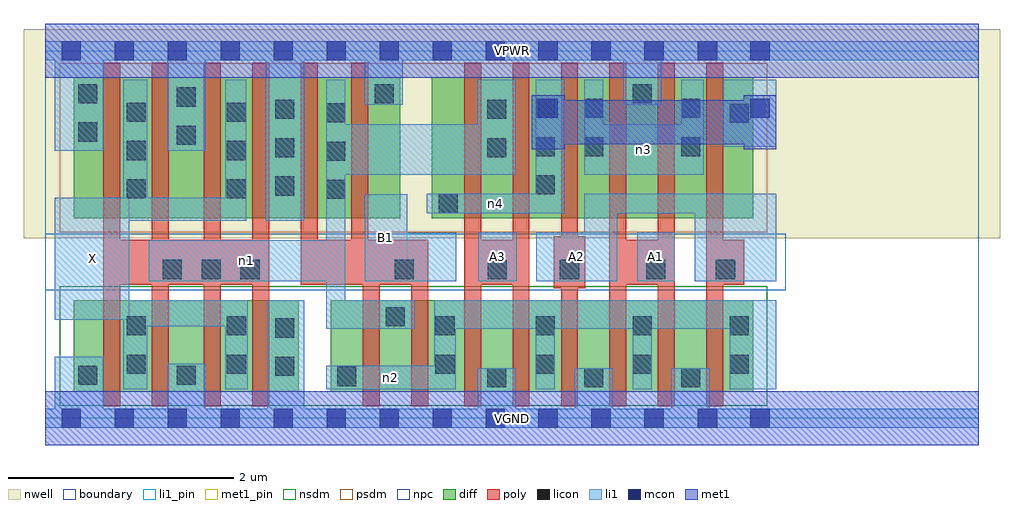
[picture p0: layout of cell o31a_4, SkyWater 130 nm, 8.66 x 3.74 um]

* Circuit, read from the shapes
.subckt o31a_4 A1 A2 A3 B1 VGND VPWR X n1 n2 n3 n4
XM1 X n1 VGND VSUBS sky130_fd_pr__nfet_01v8 w=0.81 l=0.15 m=4
XM2 n1 B1 n2 VSUBS sky130_fd_pr__nfet_01v8 w=0.81 l=0.15 m=2
XM3 VGND A3 n2 VSUBS sky130_fd_pr__nfet_01v8 w=0.81 l=0.15 m=2
XM4 VGND A2 n2 VSUBS sky130_fd_pr__nfet_01v8 w=0.81 l=0.15 m=2
XM5 n2 A1 VGND VSUBS sky130_fd_pr__nfet_01v8 w=0.81 l=0.15 m=2
XM6 X n1 VPWR n5 sky130_fd_pr__pfet_01v8 w=1.25 l=0.15 m=4
XM7 n1 B1 VPWR n5 sky130_fd_pr__pfet_01v8 w=1.25 l=0.15 m=2
XM8 n1 A3 n4 n5 sky130_fd_pr__pfet_01v8 w=1.25 l=0.15 m=2
XM9 n3 A2 n4 n5 sky130_fd_pr__pfet_01v8 w=1.25 l=0.15 m=2
XM10 VPWR A1 n3 n5 sky130_fd_pr__pfet_01v8 w=1.25 l=0.15 m=2
.ends

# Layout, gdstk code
import gdstk
lib = gdstk.Library(unit=1e-6, precision=1e-09)
def R(c, l, rs):  # rectangles x0, y0, x1, y1
    for r in rs: c.add(gdstk.rectangle(r[:2], r[2:], *l))
def A(c, l, x, y, w, h, nx, ny, dx, dy):  # array of equal rectangles
    R(c, l, [(x+i*dx, y+j*dy, x+i*dx+w, y+j*dy+h) for i in range(nx) for j in range(ny)])
nwell = (64, 20)
diff = (65, 20)
poly = (66, 20)
licon = (66, 44)
li1_pin = (67, 16)
li1 = (67, 20)
mcon = (67, 44)
met1_pin = (68, 16)
met1 = (68, 20)
nsdm = (93, 44)
psdm = (94, 20)
npc = (95, 20)
boundary = (235, 4)

o31a_4 = lib.new_cell('o31a_4')
R(o31a_4, nwell, [(-0.19,1.595,8.47,3.45), (0,1.595,8.28,3.45)])
R(o31a_4, diff, [(0.25,0.235,2.25,1.045), (2.53,0.235,6.28,1.045), (0.25,1.775,3.15,3.025), (3.43,1.775,6.28,3.025)])
A(o31a_4, poly, 3.715, 0.105, 0.15, 3.05, 6, 1, 0.43, 0)
R(o31a_4, poly, [(0.515,0.105,0.665,3.155), (0.945,0.105,1.095,3.155), (1.405,0.105,1.555,3.155), (1.835,0.105,1.985,3.155), (2.815,0.105,2.965,1.585), (3.245,0.105,3.395,1.585), (4.51,1.155,4.79,1.615), (0.515,1.185,1.985,1.585), (2.265,1.185,3.395,1.585), (2.265,1.185,2.415,3.155), (2.715,1.185,2.865,3.155), (3.715,1.185,4.295,1.585), (5.005,1.185,5.585,1.585), (5.865,1.185,6.2,1.585)])
A(o31a_4, licon, 3.92, 0.275, 0.17, 0.17, 3, 1, 0.86, 0)
A(o31a_4, licon, 4.35, 0.395, 0.17, 0.17, 3, 2, 0.86, 0.34)
A(o31a_4, licon, 1.04, 1.235, 0.17, 0.17, 3, 1, 0.345, 0)
A(o31a_4, licon, 2.49, 1.945, 0.17, 0.17, 1, 3, 0, 0.34)
A(o31a_4, licon, 0.72, 1.95, 0.17, 0.17, 1, 3, 0, 0.34)
A(o31a_4, licon, 1.61, 1.95, 0.17, 0.17, 1, 3, 0, 0.34)
A(o31a_4, licon, 2.04, 1.975, 0.17, 0.17, 1, 3, 0, 0.34)
A(o31a_4, licon, 4.35, 1.985, 0.17, 0.17, 1, 3, 0, 0.34)
R(o31a_4, licon, [(2.59,0.285,2.76,0.455), (0.29,0.295,0.46,0.465), (1.165,0.295,1.335,0.465), (2.04,0.375,2.21,0.545), (0.72,0.395,0.89,0.565), (1.61,0.395,1.78,0.565), (3.46,0.395,3.63,0.565), (2.04,0.715,2.21,0.885), (0.72,0.735,0.89,0.905), (1.61,0.735,1.78,0.905), (3.46,0.735,3.63,0.905), (3.02,0.815,3.19,0.985), (3.1,1.235,3.27,1.405), (3.925,1.235,4.095,1.405), (4.565,1.235,4.735,1.405), (5.33,1.235,5.5,1.405), (5.95,1.235,6.12,1.405), (3.49,1.82,3.66,1.99), (3.92,2.315,4.09,2.485), (4.78,2.325,4.95,2.495), (5.64,2.325,5.81,2.495), (1.165,2.425,1.335,2.595), (0.29,2.455,0.46,2.625), (6.07,2.62,6.24,2.79), (3.92,2.655,4.09,2.825), (4.78,2.665,4.95,2.835), (5.64,2.665,5.81,2.835), (1.165,2.765,1.335,2.935), (0.29,2.795,0.46,2.965), (2.92,2.795,3.09,2.965), (5.21,2.795,5.38,2.965)])
R(o31a_4, li1_pin, [(0.085,0.875,0.745,1.955), (2.835,1.215,3.21,1.985), (3.84,1.215,4.18,1.65), (4.355,1.215,5.075,1.65), (5.25,1.215,5.585,1.65)])
A(o31a_4, li1, 3.835, -0.085, 0.34, 0.53, 3, 1, 0.86, 0)
R(o31a_4, li1, [(0,-0.085,8.28,0.085), (0.085,-0.085,0.515,0.545), (1.08,-0.085,1.42,0.485), (1.97,-0.085,2.295,1.045), (0.69,0.255,0.905,1.045), (1.595,0.255,1.795,1.045), (2.49,0.255,3.64,0.465), (3.45,0.255,3.64,1.045), (4.35,0.255,4.52,1.045), (5.21,0.255,5.38,1.045), (6.07,0.255,6.485,1.045), (2.49,0.795,2.66,3.005), (2.49,0.795,3.275,1.045), (3.45,0.795,6.485,1.045), (0.69,0.815,1.795,1.045), (0.085,0.875,0.745,1.955), (0.915,1.215,2.66,1.58), (2.835,1.215,3.645,1.645), (2.835,1.215,3.21,1.985), (3.84,1.215,4.18,1.65), (4.355,1.215,5.075,1.65), (4.78,1.215,5.075,1.99), (5.25,1.215,5.585,1.65), (5.76,1.215,6.485,1.99), (0.085,1.75,1.78,1.955), (0.69,1.75,0.905,3.005), (1.595,1.75,1.78,3.005), (1.955,1.75,2.295,3.345), (3.385,1.82,4.605,1.99), (4.35,1.82,4.605,3.005), (4.78,1.82,6.485,1.99), (2.49,2.16,4.175,2.61), (3.835,2.16,4.175,3.005), (4.78,2.16,5.84,2.61), (4.78,2.16,4.95,3.005), (5.64,2.16,5.84,3.005), (0.085,2.375,0.515,3.345), (1.08,2.375,1.42,3.345), (6.015,2.41,6.485,3.005), (2.835,2.78,3.17,3.345), (5.125,2.78,5.465,3.345), (0,3.175,8.28,3.345)])
A(o31a_4, mcon, 0.145, -0.085, 0.17, 0.17, 12, 2, 0.47, 3.26)
R(o31a_4, mcon, [(5.79,-0.085,5.96,0.085), (6.255,-0.085,6.425,0.085), (4.375,2.665,4.545,2.835), (6.255,2.665,6.425,2.835), (5.79,3.175,5.96,3.345), (6.255,3.175,6.425,3.345)])
R(o31a_4, met1_pin, [(0,-0.24,8.28,0.24), (0,3.02,8.28,3.5)])
R(o31a_4, met1, [(0,-0.24,8.28,0.24), (4.315,2.385,4.61,2.865), (6.195,2.385,6.485,2.865), (4.315,2.43,6.485,2.82), (0,3.02,8.28,3.5)])
R(o31a_4, nsdm, [(0.125,0.11,6.405,1.17)])
R(o31a_4, psdm, [(0.125,1.65,6.405,3.15)])
R(o31a_4, npc, [(0,1.135,6.57,1.635)])
R(o31a_4, boundary, [(0,0,8.28,3.26)])
o31a_4.add(gdstk.Label('A1', (5.417,1.432), layer=67, texttype=5))
o31a_4.add(gdstk.Label('A2', (4.715,1.432), layer=67, texttype=5))
o31a_4.add(gdstk.Label('A3', (4.01,1.432), layer=67, texttype=5))
o31a_4.add(gdstk.Label('B1', (3.022,1.6), layer=67, texttype=5))
o31a_4.add(gdstk.Label('X', (0.415,1.415), layer=67, texttype=5))
o31a_4.add(gdstk.Label('n2', (3.065,0.36), layer=67, texttype=5))
o31a_4.add(gdstk.Label('n1', (1.787,1.397), layer=67, texttype=5))
o31a_4.add(gdstk.Label('n4', (3.995,1.905), layer=67, texttype=5))
o31a_4.add(gdstk.Label('n3', (5.31,2.385), layer=67, texttype=5))
o31a_4.add(gdstk.Label('VPWR', (4.14,3.26), layer=68, texttype=5))
o31a_4.add(gdstk.Label('VGND', (4.14,0), layer=68, texttype=5))
o31a_4.add(gdstk.Label('A1', (5.417,1.432), layer=67, texttype=16))
o31a_4.add(gdstk.Label('A2', (4.715,1.432), layer=67, texttype=16))
o31a_4.add(gdstk.Label('A3', (4.01,1.432), layer=67, texttype=16))
o31a_4.add(gdstk.Label('B1', (3.022,1.6), layer=67, texttype=16))
o31a_4.add(gdstk.Label('X', (0.415,1.415), layer=67, texttype=16))
o31a_4.add(gdstk.Label('VPWR', (4.14,3.26), layer=68, texttype=16))
o31a_4.add(gdstk.Label('VGND', (4.14,0), layer=68, texttype=16))

lib.write_gds('o31a_4.gds')
